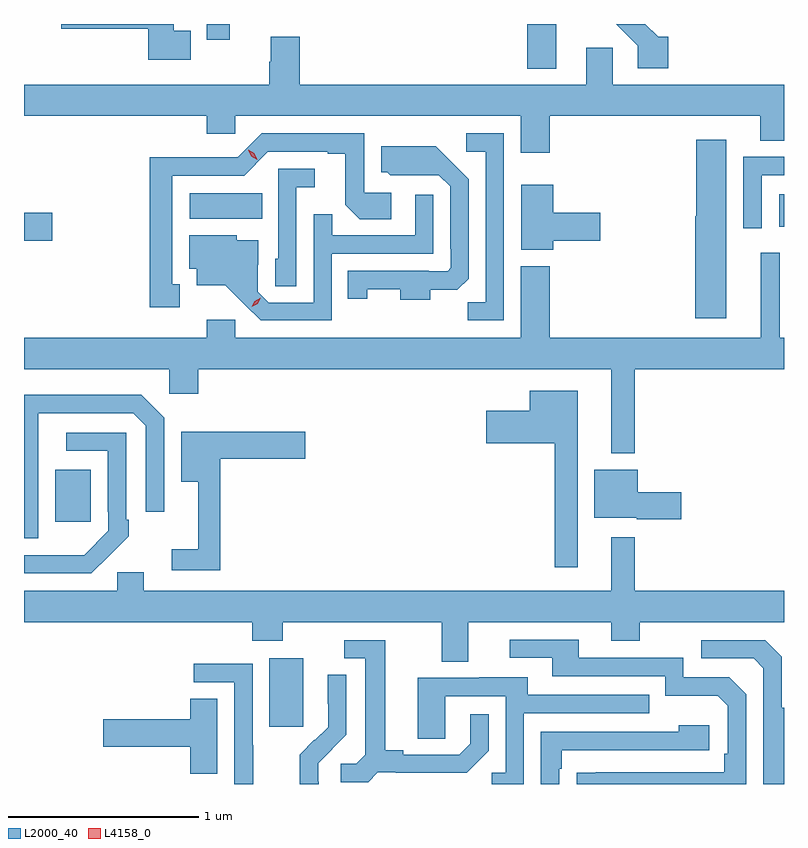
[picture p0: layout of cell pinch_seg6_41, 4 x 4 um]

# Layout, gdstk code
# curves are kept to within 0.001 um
import gdstk
lib = gdstk.Library(unit=1e-6, precision=1e-09)
def R(c, l, rs):  # rectangles x0, y0, x1, y1
    for r in rs: c.add(gdstk.rectangle(r[:2], r[2:], *l))
def P(c, l, *ps):  # polygons
    for p in ps: c.add(gdstk.Polygon(p, *l))
L2000_40 = (2000, 40)
L4158_0 = (4158, 0)

pinch_seg6_41 = lib.new_cell('pinch_seg6_41')
R(pinch_seg6_41, L2000_40, [(888.155,989.409,888.334,989.77), (887.027,990.489,887.215,990.763), (886.863,991.967,887.011,992.114), (890.837,992.042,890.863,992.212), (887.736,992.084,888.116,992.218), (889.511,992.873,889.663,993.108), (887.825,993.024,887.947,993.108)])
P(pinch_seg6_41, L2000_40, [(887.74,993.073),(887.65,993.073),(887.65,993.108),(887.058,993.108),(887.058,993.082),(887.516,993.082),(887.516,992.921),(887.74,992.921)],
  [(890.255,993.04),(890.201,993.04),(890.133,993.108),(889.98,993.108),(890.094,992.994),(890.094,992.874),(890.255,992.874)],
  [(889.631,992.624),(890.738,992.624),(890.738,992.494),(890.863,992.494),(890.863,992.788),(889.962,992.788),(889.962,992.983),(889.823,992.983),(889.823,992.788),(888.314,992.788),(888.314,993.04),(888.161,993.04),(888.161,992.909),(888.154,992.909),(888.154,992.788),(886.863,992.788),(886.863,992.624),(887.825,992.624),(887.825,992.531),(887.976,992.531),(887.976,992.624),(889.478,992.624),(889.478,992.43),(889.631,992.43)],
  [(889.389,992.532),(889.191,992.532),(889.191,992.436),(889.293,992.436),(889.293,991.643),(889.198,991.643),(889.198,991.548),(889.389,991.548)],
  [(887.683,991.737),(887.644,991.737),(887.644,992.31),(888.021,992.31),(888.147,992.436),(888.461,992.436),(888.461,992.424),(888.555,992.424),(888.555,992.156),(888.631,992.08),(888.796,992.08),(888.796,992.22),(888.654,992.22),(888.654,992.532),(888.114,992.532),(887.988,992.406),(887.766,992.406),(887.766,992.408),(887.526,992.408),(887.526,991.617),(887.683,991.617)],
  [(890.56,992.5),(890.402,992.5),(890.402,992.097),(890.396,992.097),(890.396,991.56),(890.56,991.56)],
  [(889,991.709),(889.144,991.709),(889.203,991.768),(889.203,992.29),(889.031,992.464),(888.743,992.464),(888.743,992.328),(888.774,992.328),(888.79,992.312),(889.047,992.313),(889.107,992.253),(889.107,991.924),(889.11,991.924),(889.11,991.824),(889.092,991.806),(888.992,991.806),(888.992,991.809),(888.568,991.809),(888.568,991.662),(888.669,991.662),(888.669,991.711),(888.842,991.711),(888.842,991.658),(889,991.658)],
  [(890.745,992.313),(890.863,992.313),(890.863,992.409),(890.649,992.409),(890.649,992.034),(890.745,992.034)],
  [(888.297,992.249),(888.394,992.249),(888.394,992.346),(888.201,992.346),(888.201,991.872),(888.186,991.872),(888.186,991.729),(888.297,991.729)],
  [(889.648,991.967),(889.897,991.967),(889.897,992.114),(889.648,992.114),(889.648,992.263),(889.481,992.263),(889.481,991.919),(889.648,991.919)],
  [(888.483,991.899),(889.017,991.899),(889.017,992.209),(888.921,992.209),(888.921,991.995),(888.485,991.995),(888.485,992.108),(888.387,992.108),(888.387,991.641),(888.15,991.641),(888.093,991.698),(888.093,991.84),(888.097,991.84),(888.097,991.969),(887.982,991.969),(887.982,991.996),(887.732,991.996),(887.732,991.82),(887.771,991.82),(887.771,991.733),(887.923,991.733),(888.11,991.548),(888.483,991.548)],
  [(886.863,991.292),(887.628,991.292),(887.628,991.161),(887.78,991.161),(887.78,991.292),(889.955,991.292),(889.955,990.848),(890.077,990.848),(890.077,991.292),(890.863,991.292),(890.863,991.456),(890.84,991.456),(890.84,991.903),(890.741,991.903),(890.741,991.456),(889.631,991.456),(889.631,991.834),(889.478,991.834),(889.478,991.456),(887.976,991.456),(887.976,991.552),(887.825,991.552),(887.825,991.456),(886.863,991.456)],
  [(889.777,991.177),(889.526,991.177),(889.526,991.072),(889.296,991.072),(889.296,990.902),(889.656,990.902),(889.656,990.249),(889.777,990.249)],
  [(886.938,990.859),(886.939,990.859),(886.939,991.059),(887.439,991.059),(887.505,990.993),(887.505,990.54),(887.601,990.54),(887.601,991.035),(887.48,991.156),(886.863,991.156),(886.863,990.402),(886.938,990.402)],
  [(887.897,990.821),(888.343,990.821),(888.343,990.963),(887.69,990.963),(887.69,990.698),(887.78,990.698),(887.78,990.343),(887.64,990.343),(887.64,990.234),(887.897,990.234)],
  [(887.309,990.307),(887.31,990.306),(887.415,990.411),(887.415,990.499),(887.4,990.499),(887.4,990.957),(887.085,990.957),(887.085,990.861),(887.304,990.861),(887.304,990.541),(887.307,990.541),(887.307,990.441),(887.179,990.313),(886.863,990.312),(886.863,990.216),(887.218,990.216)],
  [(890.323,990.644),(890.092,990.644),(890.092,990.763),(889.865,990.763),(889.865,990.509),(890.088,990.509),(890.088,990.502),(890.323,990.502)],
  [(889.201,989.96),(889.955,989.96),(889.955,989.861),(890.103,989.861),(890.103,989.96),(890.863,989.96),(890.863,990.124),(890.077,990.124),(890.077,990.406),(889.955,990.406),(889.955,990.124),(887.494,990.124),(887.494,990.222),(887.355,990.222),(887.355,990.124),(886.863,990.124),(886.863,989.96),(888.065,989.96),(888.065,989.861),(888.225,989.861),(888.225,989.96),(889.061,989.96),(889.061,989.752),(889.201,989.752)],
  [(890.664,989.58),(890.574,989.67),(890.334,989.67),(890.334,989.772),(889.783,989.772),(889.783,989.868),(889.419,989.868),(889.419,989.772),(889.643,989.772),(889.643,989.676),(890.238,989.676),(890.238,989.573),(890.515,989.573),(890.568,989.52),(890.568,989.266),(890.548,989.266),(890.548,989.169),(889.771,989.168),(889.771,989.108),(890.664,989.108)],
  [(890.863,989.509),(890.85,989.509),(890.85,989.778),(890.763,989.865),(890.427,989.865),(890.427,989.769),(890.703,989.769),(890.754,989.718),(890.754,989.108),(890.863,989.108)],
  [(888.726,989.169),(888.82,989.169),(888.82,989.166),(889.192,989.166),(889.308,989.282),(889.308,989.476),(889.211,989.476),(889.211,989.319),(889.154,989.262),(888.859,989.262),(888.859,989.285),(888.763,989.285),(888.763,989.865),(888.549,989.865),(888.549,989.769),(888.659,989.769),(888.659,989.261),(888.612,989.214),(888.531,989.214),(888.531,989.117),(888.674,989.117)],
  [(888.069,989.312),(888.066,989.312),(888.066,989.742),(887.757,989.742),(887.757,989.643),(887.97,989.643),(887.97,989.108),(888.069,989.108)],
  [(888.414,989.121),(888.412,989.121),(888.412,989.218),(888.558,989.366),(888.558,989.684),(888.462,989.684),(888.462,989.53),(888.464,989.53),(888.464,989.408),(888.393,989.337),(888.39,989.34),(888.313,989.263),(888.313,989.108),(888.414,989.108)],
  [(889.494,989.481),(890.153,989.481),(890.153,989.577),(889.513,989.577),(889.513,989.671),(889.259,989.671),(889.259,989.667),(888.935,989.667),(888.935,989.347),(889.08,989.347),(889.08,989.571),(889.398,989.571),(889.398,989.166),(889.326,989.166),(889.326,989.108),(889.494,989.108)],
  [(887.881,989.558),(887.738,989.558),(887.738,989.45),(887.28,989.45),(887.28,989.303),(887.738,989.303),(887.738,989.161),(887.881,989.161)],
  [(889.68,989.189),(889.693,989.189),(889.693,989.286),(890.47,989.286),(890.47,989.416),(890.309,989.416),(890.309,989.382),(889.584,989.382),(889.584,989.108),(889.68,989.108)])
P(pinch_seg6_41, L4158_0, [(888.061,991.62),(888.061,991.62),(888.078,991.65),(888.108,991.666),(888.108,991.666),(888.108,991.666),(888.092,991.636),(888.062,991.62)],
  [(888.091,992.394),(888.06,992.413),(888.042,992.446),(888.042,992.446),(888.042,992.446),(888.074,992.427),(888.091,992.394),(888.091,992.394)])

lib.write_gds('pinch_seg6_41.gds')
